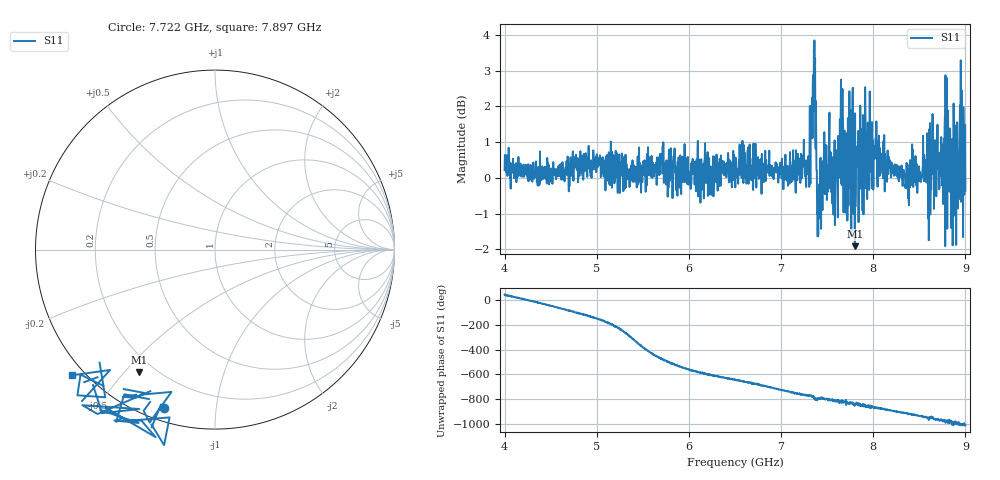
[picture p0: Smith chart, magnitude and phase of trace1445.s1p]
! Created with skrf 1.8.0 (http://scikit-rf.org).
# Hz S RI R 50.0
!freq ReS11 ImS11
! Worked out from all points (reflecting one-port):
!   1601 points, 4 GHz to 9 GHz, reference 50 ohm
!   lowest |S11| = -1.9 dB at 7.8 GHz (marker M1), VSWR 9.14, Z = 7.13 - j27.3 ohm
!   phase of S11 starts at 44 deg and turns -1056 deg over the sweep
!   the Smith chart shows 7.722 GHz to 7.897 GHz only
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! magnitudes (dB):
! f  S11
! 4 GHz  0.2
! 4.625 GHz  0.0
! 5.012 GHz  0.4
! 5.25 GHz  -0.4
! 5.697 GHz  0.5
! 5.753 GHz  -0.2
! 5.875 GHz  -0.5
! 6.5 GHz  0.4
! 7.125 GHz  0.4
! 7.294 GHz  0.1
! 7.353 GHz  2.0
! 7.369 GHz  3.4
! 7.397 GHz  -1.6
! 7.409 GHz  -1.1
! 7.481 GHz  -0.4
! 7.591 GHz  0.8
! 7.647 GHz  1.8
! 7.669 GHz  1.2
! 7.697 GHz  -1.0
! 7.75 GHz  1.0
! 7.784 GHz  -1.0
! 7.8 GHz  -1.9
! 7.922 GHz  0.0
! 8.375 GHz  -0.1
! 8.788 GHz  -1.0
! 8.869 GHz  -0.5
! 8.959 GHz  2.4
! 9 GHz  -0.4
